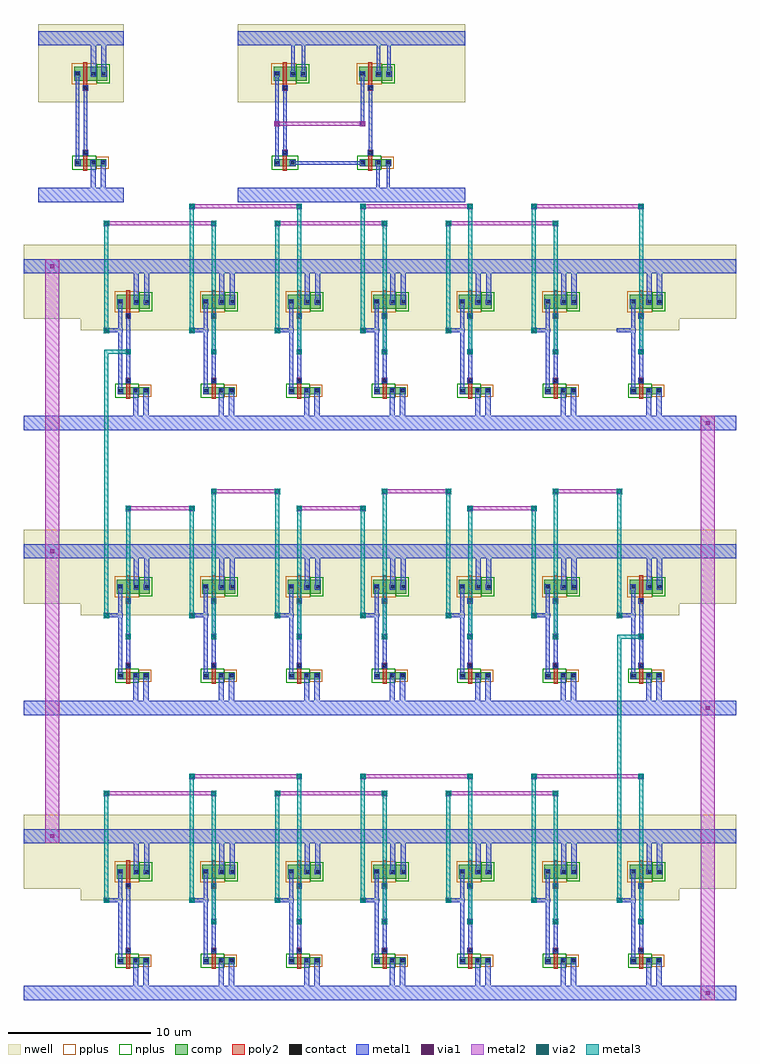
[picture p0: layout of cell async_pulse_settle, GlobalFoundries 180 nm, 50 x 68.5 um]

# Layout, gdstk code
import gdstk
lib = gdstk.Library(unit=1e-6, precision=1e-09)
def R(c, l, rs):  # rectangles x0, y0, x1, y1
    for r in rs: c.add(gdstk.rectangle(r[:2], r[2:], *l))
def A(c, l, x, y, w, h, nx, ny, dx, dy):  # array of equal rectangles
    R(c, l, [(x+i*dx, y+j*dy, x+i*dx+w, y+j*dy+h) for i in range(nx) for j in range(ny)])
nwell = (21, 0)
comp = (22, 0)
poly2 = (30, 0)
pplus = (31, 0)
nplus = (32, 0)
contact = (33, 0)
metal1 = (34, 0)
via1 = (35, 0)
metal2 = (36, 0)
via2 = (38, 0)
metal3 = (42, 0)

gf180mcu_nfet_l_0_280_w_ = lib.new_cell('gf180mcu.nfet(L=0.280,W=0.500)')

gf180mcu_pfet_l_0_280_w_ = lib.new_cell('gf180mcu.pfet(L=0.280,W=1.000)')

async_inverter = lib.new_cell('async_inverter')
R(async_inverter, nwell, [(0,4.5,6,10), (0,4.5,6,10), (0,4.5,6,10), (1.85,5.31,5.54,7.69), (1.85,5.31,5.54,7.69), (1.85,5.31,5.54,7.69)])
R(async_inverter, comp, [(2.58,0,3,0.5), (2.58,0,3,0.5), (2.58,0,3,0.5), (3,0,3.66,0.5), (3,0,3.66,0.5), (3,0,3.66,0.5), (3.66,0,4.08,0.5), (3.66,0,4.08,0.5), (3.66,0,4.08,0.5), (4.08,0,4.79,0.5), (4.08,0,4.79,0.5), (4.08,0,4.79,0.5), (2.54,6,3,7), (2.54,6,3,7), (2.54,6,3,7), (3,6,3.66,7), (3,6,3.66,7), (3,6,3.66,7), (3.66,6,4.12,7), (3.66,6,4.12,7), (3.66,6,4.12,7), (4.12,6,4.85,7), (4.12,6,4.85,7), (4.12,6,4.85,7)])
R(async_inverter, poly2, [(3.19,-0.3,3.47,0.8), (3.19,-0.3,3.47,0.8), (3.19,-0.3,3.47,0.8), (3.15,0.8,3.51,1.16), (3.15,0.8,3.51,1.16), (3.15,0.8,3.51,1.16), (3.14,5.32,3.52,5.7), (3.14,5.32,3.52,5.7), (3.14,5.32,3.52,5.7), (3.19,5.7,3.47,7.3), (3.19,5.7,3.47,7.3), (3.19,5.7,3.47,7.3)])
R(async_inverter, pplus, [(4.08,-0.17,4.96,0.67), (4.08,-0.17,4.96,0.67), (4.08,-0.17,4.96,0.67), (2.37,5.76,4.12,7.24), (2.37,5.76,4.12,7.24), (2.37,5.76,4.12,7.24)])
R(async_inverter, nplus, [(2.41,-0.24,4.08,0.74), (2.41,-0.24,4.08,0.74), (2.41,-0.24,4.08,0.74), (4.12,5.83,5.02,7.17), (4.12,5.83,5.02,7.17), (4.12,5.83,5.02,7.17)])
R(async_inverter, contact, [(2.68,0.14,2.9,0.36), (2.68,0.14,2.9,0.36), (2.68,0.14,2.9,0.36), (3.76,0.14,3.98,0.36), (3.76,0.14,3.98,0.36), (3.76,0.14,3.98,0.36), (4.47,0.14,4.69,0.36), (4.47,0.14,4.69,0.36), (4.47,0.14,4.69,0.36), (3.22,0.87,3.44,1.09), (3.22,0.87,3.44,1.09), (3.22,0.87,3.44,1.09), (3.22,5.4,3.44,5.62), (3.22,5.4,3.44,5.62), (3.22,5.4,3.44,5.62), (2.66,6.39,2.88,6.61), (2.66,6.39,2.88,6.61), (2.66,6.39,2.88,6.61), (3.78,6.39,4,6.61), (3.78,6.39,4,6.61), (3.78,6.39,4,6.61), (4.51,6.39,4.73,6.61), (4.51,6.39,4.73,6.61), (4.51,6.39,4.73,6.61)])
R(async_inverter, metal1, [(0,-2.5,6,-1.5), (0,-2.5,6,-1.5), (0,-2.5,6,-1.5), (3.69,-2.5,4.05,0.25), (3.69,-2.5,4.05,0.25), (3.69,-2.5,4.05,0.25), (4.4,-2.5,4.76,0.25), (4.4,-2.5,4.76,0.25), (4.4,-2.5,4.76,0.25), (2.6,0.06,2.98,0.44), (2.6,0.06,2.98,0.44), (2.6,0.06,2.98,0.44), (3.68,0.06,4.06,0.44), (3.68,0.06,4.06,0.44), (3.68,0.06,4.06,0.44), (4.39,0.06,4.77,0.44), (4.39,0.06,4.77,0.44), (4.39,0.06,4.77,0.44), (2.64,0.12,2.9,6.63), (2.64,0.12,2.9,6.63), (2.64,0.12,2.9,6.63), (3.14,0.79,3.52,1.17), (3.14,0.79,3.52,1.17), (3.14,0.79,3.52,1.17), (3.2,0.85,3.46,5.64), (3.2,0.85,3.46,5.64), (3.2,0.85,3.46,5.64), (3.14,5.32,3.52,5.7), (3.14,5.32,3.52,5.7), (3.14,5.32,3.52,5.7), (2.58,6.31,2.96,6.69), (2.58,6.31,2.96,6.69), (2.58,6.31,2.96,6.69), (3.7,6.31,4.08,6.69), (3.7,6.31,4.08,6.69), (3.7,6.31,4.08,6.69), (4.43,6.31,4.81,6.69), (4.43,6.31,4.81,6.69), (4.43,6.31,4.81,6.69), (3.71,6.5,4.07,9.5), (3.71,6.5,4.07,9.5), (3.71,6.5,4.07,9.5), (4.44,6.5,4.8,9.5), (4.44,6.5,4.8,9.5), (4.44,6.5,4.8,9.5), (0,8.5,6,9.5), (0,8.5,6,9.5), (0,8.5,6,9.5)])
async_inverter.add(gdstk.Reference(gf180mcu_nfet_l_0_280_w_, (0,0)))
async_inverter.add(gdstk.Reference(gf180mcu_pfet_l_0_280_w_, (0,0)))

c_gf180mcu_nfet_l_0_280_w_ = lib.new_cell('gf180mcu.nfet(L=0.280,W=1.000)')

async_nand2 = lib.new_cell('async_nand2')
R(async_nand2, nwell, [(0,4.5,16,10), (1.85,5.31,5.54,7.69), (7.85,5.31,11.54,7.69)])
R(async_nand2, comp, [(2.58,0,3,0.5), (3,0,3.66,0.5), (3.66,0,4.08,0.5), (8.58,0,9,0.5), (9,0,9.66,0.5), (9.66,0,10.08,0.5), (10.08,0,10.79,0.5), (2.54,6,3,7), (3,6,3.66,7), (3.66,6,4.12,7), (4.12,6,4.85,7), (8.54,6,9,7), (9,6,9.66,7), (9.66,6,10.12,7), (10.12,6,10.85,7)])
R(async_nand2, poly2, [(3.19,-0.3,3.47,0.8), (9.19,-0.3,9.47,0.8), (3.15,0.8,3.51,1.16), (9.15,0.8,9.51,1.16), (3.14,5.32,3.52,5.7), (9.14,5.32,9.52,5.7), (3.19,5.7,3.47,7.3), (9.19,5.7,9.47,7.3)])
R(async_nand2, pplus, [(10.08,-0.17,10.96,0.67), (2.37,5.76,4.12,7.24), (8.37,5.76,10.12,7.24)])
R(async_nand2, nplus, [(2.41,-0.24,4.25,0.74), (8.41,-0.24,10.08,0.74), (4.12,5.83,5.02,7.17), (10.12,5.83,11.02,7.17)])
R(async_nand2, contact, [(2.68,0.14,2.9,0.36), (3.76,0.14,3.98,0.36), (8.68,0.14,8.9,0.36), (9.76,0.14,9.98,0.36), (10.47,0.14,10.69,0.36), (3.22,0.87,3.44,1.09), (9.22,0.87,9.44,1.09), (3.22,5.4,3.44,5.62), (9.22,5.4,9.44,5.62), (2.66,6.39,2.88,6.61), (3.78,6.39,4,6.61), (4.51,6.39,4.73,6.61), (8.66,6.39,8.88,6.61), (9.78,6.39,10,6.61), (10.51,6.39,10.73,6.61)])
R(async_nand2, metal1, [(0,-2.5,16,-1.5), (9.75,-2.5,9.99,0.25), (10.46,-2.5,10.7,0.25), (2.6,0.06,2.98,0.44), (3.68,0.06,4.06,0.44), (8.6,0.06,8.98,0.44), (9.68,0.06,10.06,0.44), (10.39,0.06,10.77,0.44), (3.75,0.13,8.91,0.37), (2.66,0.25,2.9,6.5), (3.14,0.79,3.52,1.17), (9.14,0.79,9.52,1.17), (3.21,0.98,3.45,5.51), (9.21,0.98,9.45,5.51), (2.59,2.81,2.97,3.19), (8.58,2.81,8.96,3.19), (8.65,3,8.89,6.5), (3.14,5.32,3.52,5.7), (9.14,5.32,9.52,5.7), (2.58,6.31,2.96,6.69), (3.7,6.31,4.08,6.69), (4.43,6.31,4.81,6.69), (8.58,6.31,8.96,6.69), (9.7,6.31,10.08,6.69), (10.43,6.31,10.81,6.69), (3.77,6.5,4.01,9.5), (4.5,6.5,4.74,9.5), (9.77,6.5,10.01,9.5), (10.5,6.5,10.74,9.5), (0,8.5,16,9.5)])
R(async_nand2, via1, [(2.65,2.87,2.91,3.13), (8.64,2.87,8.9,3.13)])
R(async_nand2, metal2, [(2.59,2.81,2.97,3.19), (8.58,2.81,8.96,3.19), (2.59,2.86,8.96,3.14)])
async_nand2.add(gdstk.Reference(c_gf180mcu_nfet_l_0_280_w_, (0,0)))
async_nand2.add(gdstk.Reference(gf180mcu_pfet_l_0_280_w_, (0,0)))

async_delay_chain = lib.new_cell('async_delay_chain')
A(async_delay_chain, nwell, 0, 5.3, 50, 5.2, 1, 3, 0, 20)
A(async_delay_chain, metal1, 47.81, -2.19, 0.38, 0.38, 1, 3, 0, 20)
A(async_delay_chain, metal1, 13.14, 2.81, 0.38, 0.38, 6, 1, 6, 0)
A(async_delay_chain, metal1, 6.63, 3.38, 0.28, 1.12, 7, 3, 6, 20)
A(async_delay_chain, metal1, 5.61, 4.31, 0.38, 0.38, 7, 2, 6, 20)
A(async_delay_chain, metal1, 5.61, 4.36, 1.35, 0.28, 7, 3, 6, 20)
A(async_delay_chain, metal1, 1.81, 8.81, 0.38, 0.38, 1, 3, 0, 20)
A(async_delay_chain, metal1, 7.14, 22.81, 0.38, 0.38, 7, 2, 6, 20)
A(async_delay_chain, metal1, 5.61, 44.31, 0.38, 0.38, 6, 1, 6, 0)
R(async_delay_chain, metal1, [(0,-2.5,50,-1.5), (0,8.5,50,9.5), (0,17.5,50,18.5), (0,28.5,50,29.5), (0,37.5,50,38.5), (0,48.5,50,49.5)])
A(async_delay_chain, via1, 47.87, -2.13, 0.26, 0.26, 1, 3, 0, 20)
A(async_delay_chain, via1, 13.2, 2.87, 0.26, 0.26, 6, 1, 6, 0)
A(async_delay_chain, via1, 5.67, 4.37, 0.26, 0.26, 7, 2, 6, 20)
A(async_delay_chain, via1, 1.87, 8.87, 0.26, 0.26, 1, 3, 0, 20)
A(async_delay_chain, via1, 7.2, 22.87, 0.26, 0.26, 7, 2, 6, 20)
A(async_delay_chain, via1, 5.67, 44.37, 0.26, 0.26, 6, 1, 6, 0)
A(async_delay_chain, metal2, 47.81, -2.19, 0.38, 0.38, 1, 3, 0, 20)
A(async_delay_chain, metal2, 1.81, 8.81, 0.38, 0.38, 1, 3, 0, 20)
A(async_delay_chain, metal2, 5.61, 11.86, 7.91, 0.28, 3, 2, 12, 40)
A(async_delay_chain, metal2, 11.61, 13.06, 7.91, 0.28, 3, 2, 12, 40)
A(async_delay_chain, metal2, 7.14, 31.86, 4.85, 0.28, 3, 1, 12, 0)
A(async_delay_chain, metal2, 13.14, 33.06, 4.85, 0.28, 3, 1, 12, 0)
R(async_delay_chain, metal2, [(47.5,-2.5,48.5,38.5), (13.14,2.81,13.52,3.19), (13.14,2.81,13.52,3.19), (19.14,2.81,19.52,3.19), (19.14,2.81,19.52,3.19), (25.14,2.81,25.52,3.19), (25.14,2.81,25.52,3.19), (31.14,2.81,31.52,3.19), (31.14,2.81,31.52,3.19), (37.14,2.81,37.52,3.19), (37.14,2.81,37.52,3.19), (43.14,2.81,43.52,3.19), (43.14,2.81,43.52,3.19), (5.61,4.31,5.99,4.69), (5.61,4.31,5.99,4.69), (11.61,4.31,11.99,4.69), (11.61,4.31,11.99,4.69), (17.61,4.31,17.99,4.69), (17.61,4.31,17.99,4.69), (23.61,4.31,23.99,4.69), (23.61,4.31,23.99,4.69), (29.61,4.31,29.99,4.69), (29.61,4.31,29.99,4.69), (35.61,4.31,35.99,4.69), (35.61,4.31,35.99,4.69), (41.61,4.31,41.99,4.69), (41.61,4.31,41.99,4.69), (1.5,8.5,2.5,49.5), (5.61,11.81,5.99,12.19), (13.14,11.81,13.52,12.19), (17.61,11.81,17.99,12.19), (25.14,11.81,25.52,12.19), (29.61,11.81,29.99,12.19), (37.14,11.81,37.52,12.19), (11.61,13.01,11.99,13.39), (19.14,13.01,19.52,13.39), (23.61,13.01,23.99,13.39), (31.14,13.01,31.52,13.39), (35.61,13.01,35.99,13.39), (43.14,13.01,43.52,13.39), (7.14,22.81,7.52,23.19), (7.14,22.81,7.52,23.19), (13.14,22.81,13.52,23.19), (13.14,22.81,13.52,23.19), (19.14,22.81,19.52,23.19), (19.14,22.81,19.52,23.19), (25.14,22.81,25.52,23.19), (25.14,22.81,25.52,23.19), (31.14,22.81,31.52,23.19), (31.14,22.81,31.52,23.19), (37.14,22.81,37.52,23.19), (37.14,22.81,37.52,23.19), (43.14,22.81,43.52,23.19), (43.14,22.81,43.52,23.19), (5.61,24.31,5.99,24.69), (5.61,24.31,5.99,24.69), (11.61,24.31,11.99,24.69), (11.61,24.31,11.99,24.69), (17.61,24.31,17.99,24.69), (17.61,24.31,17.99,24.69), (23.61,24.31,23.99,24.69), (23.61,24.31,23.99,24.69), (29.61,24.31,29.99,24.69), (29.61,24.31,29.99,24.69), (35.61,24.31,35.99,24.69), (35.61,24.31,35.99,24.69), (41.61,24.31,41.99,24.69), (41.61,24.31,41.99,24.69), (7.14,31.81,7.52,32.19), (11.61,31.81,11.99,32.19), (19.14,31.81,19.52,32.19), (23.61,31.81,23.99,32.19), (31.14,31.81,31.52,32.19), (35.61,31.81,35.99,32.19), (13.14,33.01,13.52,33.39), (17.61,33.01,17.99,33.39), (25.14,33.01,25.52,33.39), (29.61,33.01,29.99,33.39), (37.14,33.01,37.52,33.39), (41.61,33.01,41.99,33.39), (7.14,42.81,7.52,43.19), (7.14,42.81,7.52,43.19), (13.14,42.81,13.52,43.19), (13.14,42.81,13.52,43.19), (19.14,42.81,19.52,43.19), (19.14,42.81,19.52,43.19), (25.14,42.81,25.52,43.19), (25.14,42.81,25.52,43.19), (31.14,42.81,31.52,43.19), (31.14,42.81,31.52,43.19), (37.14,42.81,37.52,43.19), (37.14,42.81,37.52,43.19), (43.14,42.81,43.52,43.19), (43.14,42.81,43.52,43.19), (5.61,44.31,5.99,44.69), (5.61,44.31,5.99,44.69), (11.61,44.31,11.99,44.69), (11.61,44.31,11.99,44.69), (17.61,44.31,17.99,44.69), (17.61,44.31,17.99,44.69), (23.61,44.31,23.99,44.69), (23.61,44.31,23.99,44.69), (29.61,44.31,29.99,44.69), (29.61,44.31,29.99,44.69), (35.61,44.31,35.99,44.69), (35.61,44.31,35.99,44.69), (5.61,51.81,5.99,52.19), (13.14,51.81,13.52,52.19), (17.61,51.81,17.99,52.19), (25.14,51.81,25.52,52.19), (29.61,51.81,29.99,52.19), (37.14,51.81,37.52,52.19), (11.61,53.01,11.99,53.39), (19.14,53.01,19.52,53.39), (23.61,53.01,23.99,53.39), (31.14,53.01,31.52,53.39), (35.61,53.01,35.99,53.39), (43.14,53.01,43.52,53.39)])
A(async_delay_chain, via2, 13.2, 2.87, 0.26, 0.26, 6, 1, 6, 0)
A(async_delay_chain, via2, 5.67, 4.37, 0.26, 0.26, 7, 2, 6, 20)
A(async_delay_chain, via2, 7.2, 22.87, 0.26, 0.26, 7, 2, 6, 20)
A(async_delay_chain, via2, 5.67, 44.37, 0.26, 0.26, 6, 1, 6, 0)
R(async_delay_chain, via2, [(5.67,11.87,5.93,12.13), (13.2,11.87,13.46,12.13), (17.67,11.87,17.93,12.13), (25.2,11.87,25.46,12.13), (29.67,11.87,29.93,12.13), (37.2,11.87,37.46,12.13), (11.67,13.07,11.93,13.33), (19.2,13.07,19.46,13.33), (23.67,13.07,23.93,13.33), (31.2,13.07,31.46,13.33), (35.67,13.07,35.93,13.33), (43.2,13.07,43.46,13.33), (7.2,31.87,7.46,32.13), (11.67,31.87,11.93,32.13), (19.2,31.87,19.46,32.13), (23.67,31.87,23.93,32.13), (31.2,31.87,31.46,32.13), (35.67,31.87,35.93,32.13), (13.2,33.07,13.46,33.33), (17.67,33.07,17.93,33.33), (25.2,33.07,25.46,33.33), (29.67,33.07,29.93,33.33), (37.2,33.07,37.46,33.33), (41.67,33.07,41.93,33.33), (5.67,51.87,5.93,52.13), (13.2,51.87,13.46,52.13), (17.67,51.87,17.93,52.13), (25.2,51.87,25.46,52.13), (29.67,51.87,29.93,52.13), (37.2,51.87,37.46,52.13), (11.67,53.07,11.93,53.33), (19.2,53.07,19.46,53.33), (23.67,53.07,23.93,53.33), (31.2,53.07,31.46,53.33), (35.67,53.07,35.93,53.33), (43.2,53.07,43.46,53.33)])
A(async_delay_chain, metal3, 13.14, 2.81, 0.38, 0.38, 6, 1, 6, 0)
A(async_delay_chain, metal3, 13.19, 3, 0.28, 9, 3, 2, 12, 40)
A(async_delay_chain, metal3, 19.19, 3, 0.28, 10.2, 3, 2, 12, 40)
A(async_delay_chain, metal3, 5.61, 4.31, 0.38, 0.38, 7, 2, 6, 20)
A(async_delay_chain, metal3, 5.66, 4.5, 0.28, 7.5, 3, 2, 12, 40)
A(async_delay_chain, metal3, 11.66, 4.5, 0.28, 8.7, 3, 2, 12, 40)
A(async_delay_chain, metal3, 7.14, 22.81, 0.38, 0.38, 7, 2, 6, 20)
A(async_delay_chain, metal3, 7.19, 23, 0.28, 9, 3, 1, 12, 0)
A(async_delay_chain, metal3, 13.19, 23, 0.28, 10.2, 3, 1, 12, 0)
A(async_delay_chain, metal3, 11.66, 24.5, 0.28, 7.5, 3, 1, 12, 0)
A(async_delay_chain, metal3, 17.66, 24.5, 0.28, 8.7, 3, 1, 12, 0)
A(async_delay_chain, metal3, 5.61, 44.31, 0.38, 0.38, 6, 1, 6, 0)
R(async_delay_chain, metal3, [(41.66,4.5,41.94,23), (5.61,11.81,5.99,12.19), (13.14,11.81,13.52,12.19), (17.61,11.81,17.99,12.19), (25.14,11.81,25.52,12.19), (29.61,11.81,29.99,12.19), (37.14,11.81,37.52,12.19), (11.61,13.01,11.99,13.39), (19.14,13.01,19.52,13.39), (23.61,13.01,23.99,13.39), (31.14,13.01,31.52,13.39), (35.61,13.01,35.99,13.39), (43.14,13.01,43.52,13.39), (41.66,22.86,43.47,23.14), (5.66,24.5,5.94,43), (7.14,31.81,7.52,32.19), (11.61,31.81,11.99,32.19), (19.14,31.81,19.52,32.19), (23.61,31.81,23.99,32.19), (31.14,31.81,31.52,32.19), (35.61,31.81,35.99,32.19), (13.14,33.01,13.52,33.39), (17.61,33.01,17.99,33.39), (25.14,33.01,25.52,33.39), (29.61,33.01,29.99,33.39), (37.14,33.01,37.52,33.39), (41.61,33.01,41.99,33.39), (5.66,42.86,7.47,43.14), (5.61,51.81,5.99,52.19), (13.14,51.81,13.52,52.19), (17.61,51.81,17.99,52.19), (25.14,51.81,25.52,52.19), (29.61,51.81,29.99,52.19), (37.14,51.81,37.52,52.19), (11.61,53.01,11.99,53.39), (19.14,53.01,19.52,53.39), (23.61,53.01,23.99,53.39), (31.14,53.01,31.52,53.39), (35.61,53.01,35.99,53.39), (43.14,53.01,43.52,53.39)])
async_delay_chain.add(gdstk.Reference(async_inverter, (4,0)))
async_delay_chain.add(gdstk.Reference(async_inverter, (10,0)))
async_delay_chain.add(gdstk.Reference(async_inverter, (16,0)))
async_delay_chain.add(gdstk.Reference(async_inverter, (22,0)))
async_delay_chain.add(gdstk.Reference(async_inverter, (28,0)))
async_delay_chain.add(gdstk.Reference(async_inverter, (34,0)))
async_delay_chain.add(gdstk.Reference(async_inverter, (40,0)))
async_delay_chain.add(gdstk.Reference(async_inverter, (40,20)))
async_delay_chain.add(gdstk.Reference(async_inverter, (34,20)))
async_delay_chain.add(gdstk.Reference(async_inverter, (28,20)))
async_delay_chain.add(gdstk.Reference(async_inverter, (22,20)))
async_delay_chain.add(gdstk.Reference(async_inverter, (16,20)))
async_delay_chain.add(gdstk.Reference(async_inverter, (10,20)))
async_delay_chain.add(gdstk.Reference(async_inverter, (4,20)))
async_delay_chain.add(gdstk.Reference(async_inverter, (4,40)))
async_delay_chain.add(gdstk.Reference(async_inverter, (10,40)))
async_delay_chain.add(gdstk.Reference(async_inverter, (16,40)))
async_delay_chain.add(gdstk.Reference(async_inverter, (22,40)))
async_delay_chain.add(gdstk.Reference(async_inverter, (28,40)))
async_delay_chain.add(gdstk.Reference(async_inverter, (34,40)))
async_delay_chain.add(gdstk.Reference(async_inverter, (40,40)))

async_pulse_settle = lib.new_cell('async_pulse_settle')
async_pulse_settle.add(gdstk.Reference(async_inverter, (1,56)))
async_pulse_settle.add(gdstk.Reference(async_nand2, (15,56)))
async_pulse_settle.add(gdstk.Reference(async_delay_chain, (0,0)))

lib.write_gds('async_pulse_settle.gds')
